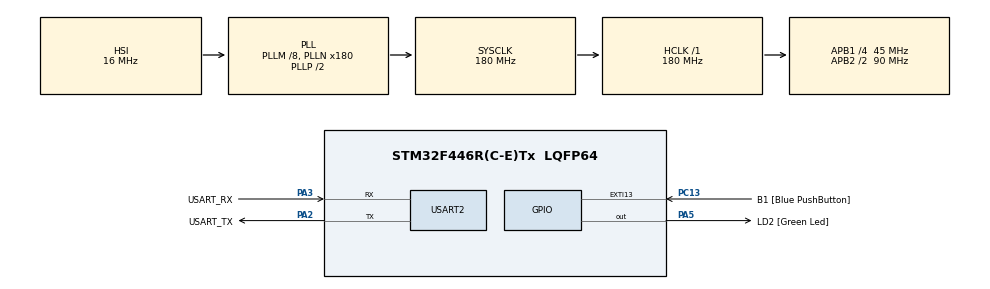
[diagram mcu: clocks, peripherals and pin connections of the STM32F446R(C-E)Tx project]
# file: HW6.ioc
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Mcu.Family=STM32F4
Mcu.Name=STM32F446R(C-E)Tx
Mcu.Package=LQFP64
NVIC.PriorityGroup=NVIC_PRIORITYGROUP_0
PA13.GPIO_Label=TMS
PA13.Mode=Serial_Wire
PA13.Signal=SYS_JTMS-SWDIO
PA14.GPIO_Label=TCK
PA14.Mode=Serial_Wire
PA14.Signal=SYS_JTCK-SWCLK
PA2.GPIO_Label=USART_TX
PA2.Mode=Asynchronous
PA2.Signal=USART2_TX
PA3.GPIO_Label=USART_RX
PA3.Mode=Asynchronous
PA3.Signal=USART2_RX
PA5.GPIO_Label=LD2 [Green Led]
PA5.Signal=GPIO_Output
PB3.GPIO_Label=SWO
PB3.Signal=SYS_JTDO-SWO
PC13.GPIO_Label=B1 [Blue PushButton]
PC13.GPIO_ModeDefaultEXTI=GPIO_MODE_IT_FALLING
PC13.Signal=GPXTI13
PC14-OSC32_IN.Mode=LSE-External-Oscillator
PC14-OSC32_IN.Signal=RCC_OSC32_IN
PC15-OSC32_OUT.Mode=LSE-External-Oscillator
PC15-OSC32_OUT.Signal=RCC_OSC32_OUT
PH0-OSC_IN.Mode=HSE-External-Oscillator
PH0-OSC_IN.Signal=RCC_OSC_IN
PH1-OSC_OUT.Mode=HSE-External-Oscillator
PH1-OSC_OUT.Signal=RCC_OSC_OUT
ProjectManager.HeapSize=0x200
ProjectManager.StackSize=0x400
ProjectManager.TargetToolchain=STM32CubeIDE
RCC.48MHZClocksFreq_Value=84000000
RCC.AHBFreq_Value=180000000
RCC.APB1CLKDivider=RCC_HCLK_DIV4
RCC.APB1Freq_Value=45000000
RCC.APB1TimFreq_Value=90000000
RCC.APB2CLKDivider=RCC_HCLK_DIV2
RCC.APB2Freq_Value=90000000
RCC.APB2TimFreq_Value=180000000
RCC.CortexFreq_Value=180000000
RCC.FLatency-AdvancedSettings=FLASH_LATENCY_5
RCC.HCLKFreq_Value=180000000
RCC.HSE_VALUE=8000000
RCC.HSI_VALUE=16000000
RCC.PLLM=8
RCC.PLLN=180
RCC.SYSCLKFreq_VALUE=180000000
RCC.SYSCLKSource=RCC_SYSCLKSOURCE_PLLCLK
RCC.USBFreq_Value=180000000
RCC.VCOOutputFreq_Value=360000000
USART2.VirtualMode=VM_ASYNC
board=NUCLEO-F446RE

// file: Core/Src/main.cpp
/* USER CODE BEGIN Header */
/**
  ******************************************************************************
  * @file           : main.cpp
  * @brief          : EE4065 Homework 6 - CNN Handwritten Digit Recognition
  *                   TensorFlow Lite Micro on STM32 Nucleo-F446RE
  *
  * Models tested (select ONE at a time by including the appropriate header):
  *   - SqueezeNetMini:    54.2 KB  (RECOMMENDED - Smallest)
  *   - ResNet8:           96.3 KB
  *   - MobileNetV2Mini:  106.5 KB
  *   - EfficientNetMini: 108.5 KB
  *   - ResNet14:         201.7 KB  (May need smaller arena)
  *
  * Protocol (PC -> STM32 -> PC):
  *   1. PC sends 0xAA (sync byte)
  *   2. STM32 replies 0x55 (ACK)
  *   3. PC sends 1024 bytes (32x32 grayscale image)
  *   4. STM32 runs inference
  *   5. STM32 sends 10 bytes (uint8 predictions) + 4 bytes (inference time ms)
  *
  ******************************************************************************
  */
/* USER CODE END Header */

#include "main.h"
#include <stdio.h>
#include <string.h>
#include <math.h>

/* USER CODE BEGIN Includes */
// TensorFlow Lite Micro headers
#include "tensorflow/lite/micro/micro_interpreter.h"
#include "tensorflow/lite/micro/micro_mutable_op_resolver.h"
#include "tensorflow/lite/schema/schema_generated.h"
#include "tensorflow/lite/micro/micro_log.h"

// ============================================================================
// SELECT YOUR MODEL HERE - Change the number (1-5)
// ============================================================================
#define MODEL_SELECT 3  // 1=SqueezeNetMini, 2=ResNet8, 3=MobileNetV2Mini, 4=EfficientNetMini, 5=ResNet14

// Auto-configure based on MODEL_SELECT
#if MODEL_SELECT == 1
    #include "SqueezeNetMini.h"
    #define MODEL_NAME "SqueezeNetMini"
    #define MODEL_DATA SqueezeNetMini_tflite
    #define TENSOR_ARENA_SIZE (50 * 1024)
#elif MODEL_SELECT == 2
    #include "ResNet8.h"
    #define MODEL_NAME "ResNet8"
    #define MODEL_DATA ResNet8_tflite
    #define TENSOR_ARENA_SIZE (60 * 1024)
#elif MODEL_SELECT == 3
    #include "MobileNetV2Mini.h"
    #define MODEL_NAME "MobileNetV2Mini"
    #define MODEL_DATA MobileNetV2Mini_tflite
    #define TENSOR_ARENA_SIZE (65 * 1024)
#elif MODEL_SELECT == 4
    #include "EfficientNetMini.h"
    #define MODEL_NAME "EfficientNetMini"
    #define MODEL_DATA EfficientNetMini_tflite
    #define TENSOR_ARENA_SIZE (80 * 1024)  // Increased from 70KB to 80KB
#elif MODEL_SELECT == 5
    #include "ResNet14.h"
    #define MODEL_NAME "ResNet14"
    #define MODEL_DATA ResNet14_tflite
    #define TENSOR_ARENA_SIZE (80 * 1024)
#else
    #error "Invalid MODEL_SELECT! Use 1-5"
#endif
/* USER CODE END Includes */

/* USER CODE BEGIN PD */
// Image parameters
#define IMAGE_SIZE      32
#define IMAGE_CHANNELS  3       // Model expects RGB
#define IMAGE_BYTES     (IMAGE_SIZE * IMAGE_SIZE)  // Grayscale input from PC
#define INPUT_SIZE      (IMAGE_SIZE * IMAGE_SIZE * IMAGE_CHANNELS)

// Output
#define NUM_CLASSES     10

// Protocol bytes
#define SYNC_BYTE       0xAA
#define ACK_BYTE        0x55

/* USER CODE END PD */

UART_HandleTypeDef huart2;

/* USER CODE BEGIN PV */
// Tensor arena - must fit in RAM (F446RE has 128KB)
alignas(16) static uint8_t tensor_arena[TENSOR_ARENA_SIZE];

// Image receive buffer
static uint8_t image_buffer[IMAGE_BYTES];

// TFLite objects
static tflite::MicroInterpreter* interpreter = nullptr;
static TfLiteTensor* input_tensor = nullptr;
static TfLiteTensor* output_tensor = nullptr;
static bool model_ready = false;

/* USER CODE END PV */

void SystemClock_Config(void);
static void MX_GPIO_Init(void);
static void MX_USART2_UART_Init(void);

/* USER CODE BEGIN PFP */
static bool InitModel(void);
static void RunInference(void);
static void PrintMenu(void);
static void PrintInfo(void);
/* USER CODE END PFP */

/* USER CODE BEGIN 0 */

// Printf redirect to UART
#ifdef __GNUC__
extern "C" int __io_putchar(int ch)
{
    HAL_UART_Transmit(&huart2, (uint8_t*)&ch, 1, HAL_MAX_DELAY);
    return ch;
}
#endif

/**
  * @brief Initialize TFLite Micro model
  */
static bool InitModel(void)
{
    printf("Initializing TFLite model...\r\n");
    printf("  Model: %s\r\n", MODEL_NAME);
    printf("  Arena size: %d bytes\r\n", TENSOR_ARENA_SIZE);

    // Get model from Flash
    // Change this line when using different model!
    const tflite::Model* model = tflite::GetModel(MODEL_DATA);
    // const tflite::Model* model = tflite::GetModel(SqueezeNetMini_tflite);
    // const tflite::Model* model = tflite::GetModel(ResNet8_tflite);
    // const tflite::Model* model = tflite::GetModel(MobileNetV2Mini_tflite);
    // const tflite::Model* model = tflite::GetModel(EfficientNetMini_tflite);
    // const tflite::Model* model = tflite::GetModel(ResNet14_tflite);

    if (model->version() != TFLITE_SCHEMA_VERSION) {
        printf("ERROR: Model schema version mismatch!\r\n");
        return false;
    }

    // Create op resolver with required operations
    static tflite::MicroMutableOpResolver<25> resolver;  // Increased from 20 to 25

    // Common ops for all models
    resolver.AddConv2D();
    resolver.AddDepthwiseConv2D();
    resolver.AddFullyConnected();
    resolver.AddReshape();
    resolver.AddSoftmax();
    resolver.AddMaxPool2D();
    resolver.AddAveragePool2D();
    resolver.AddMean();
    resolver.AddPad();

    // Activation ops
    resolver.AddRelu();
    resolver.AddRelu6();

    // Arithmetic ops
    resolver.AddAdd();
    resolver.AddMul();

    // Quantization ops
    resolver.AddQuantize();
    resolver.AddDequantize();

    // Concatenation (for SqueezeNet fire modules)
    resolver.AddConcatenation();

    // === ADD THESE FOR ResNet and EfficientNet ===
    resolver.AddLogistic();        // Sigmoid - needed for EfficientNet Swish activation
    resolver.AddSub();             // Subtraction
    resolver.AddDiv();             // Division
    resolver.AddResizeBilinear();  // For some models
    resolver.AddResizeNearestNeighbor();

    // Create interpreter
    static tflite::MicroInterpreter static_interpreter(
        model, resolver, tensor_arena, TENSOR_ARENA_SIZE);
    interpreter = &static_interpreter;

    // Allocate tensors
    if (interpreter->AllocateTensors() != kTfLiteOk) {
        printf("ERROR: AllocateTensors failed!\r\n");
        printf("  Try reducing TENSOR_ARENA_SIZE or use smaller model.\r\n");
        return false;
    }

    // Get input/output tensors
    input_tensor = interpreter->input(0);
    output_tensor = interpreter->output(0);

    // Print tensor info
    printf("  Input:  [%d, %d, %d, %d] type=%d\r\n",
           input_tensor->dims->data[0], input_tensor->dims->data[1],
           input_tensor->dims->data[2], input_tensor->dims->data[3],
           input_tensor->type);
    printf("  Output: [%d, %d] type=%d\r\n",
           output_tensor->dims->data[0], output_tensor->dims->data[1],
           output_tensor->type);

    printf("Model initialized successfully!\r\n\r\n");
    return true;
}

/**
  * @brief Run inference on received image
  */
static void RunInference(void)
{
    uint8_t ack = ACK_BYTE;

    // Send ACK
    HAL_UART_Transmit(&huart2, &ack, 1, HAL_MAX_DELAY);

    // Receive image (32x32 = 1024 bytes grayscale)
    HAL_StatusTypeDef status = HAL_UART_Receive(&huart2, image_buffer,
                                                 IMAGE_BYTES, 5000);
    if (status != HAL_OK) {
        printf("ERROR: Image receive timeout!\r\n");
        return;
    }

    // Preprocess: convert grayscale to RGB and copy to input tensor
    // Input tensor expects uint8 values
    uint8_t* input_data = input_tensor->data.uint8;

    for (int i = 0; i < IMAGE_BYTES; i++) {
        uint8_t pixel = image_buffer[i];
        // Replicate grayscale to RGB channels
        input_data[i * 3 + 0] = pixel;  // R
        input_data[i * 3 + 1] = pixel;  // G
        input_data[i * 3 + 2] = pixel;  // B
    }

    // Run inference
    uint32_t start_time = HAL_GetTick();

    if (interpreter->Invoke() != kTfLiteOk) {
        printf("ERROR: Inference failed!\r\n");
        return;
    }

    uint32_t inference_time = HAL_GetTick() - start_time;

    // Get output (10 uint8 values)
    uint8_t* output_data = output_tensor->data.uint8;

    // Send predictions (10 bytes)
    HAL_UART_Transmit(&huart2, output_data, NUM_CLASSES, HAL_MAX_DELAY);

    // Send inference time (4 bytes, uint32)
    HAL_UART_Transmit(&huart2, (uint8_t*)&inference_time, 4, HAL_MAX_DELAY);

    // Find argmax and print locally
    int predicted = 0;
    uint8_t max_val = output_data[0];
    for (int i = 1; i < NUM_CLASSES; i++) {
        if (output_data[i] > max_val) {
            max_val = output_data[i];
            predicted = i;
        }
    }

    printf("Inference: Digit=%d (conf=%d) Time=%lums\r\n",
           predicted, max_val, inference_time);
}

/**
  * @brief Print menu
  */
static void PrintMenu(void)
{
    printf("\r\n");
    printf("================================================\r\n");
    printf("  EE4065 HW6 - CNN Digit Recognition\r\n");
    printf("  STM32 Nucleo-F446RE + TFLite Micro\r\n");
    printf("================================================\r\n");
    printf("  Model: %s\r\n", MODEL_NAME);
    printf("  Status: %s\r\n", model_ready ? "READY" : "NOT READY");
    printf("------------------------------------------------\r\n");
    printf("  Commands:\r\n");
    printf("    0xAA - Start inference (send image)\r\n");
    printf("    i    - System info\r\n");
    printf("    ?    - This menu\r\n");
    printf("================================================\r\n");
}

/**
  * @brief Print system info
  */
static void PrintInfo(void)
{
    printf("\r\n>>> System Info:\r\n");
    printf("  MCU: STM32F446RE (Cortex-M4 @ 180MHz)\r\n");
    printf("  Flash: 512 KB\r\n");
    printf("  RAM: 128 KB\r\n");
    printf("  Clock: %lu MHz\r\n", HAL_RCC_GetSysClockFreq() / 1000000);
    printf("  Model: %s\r\n", MODEL_NAME);
    printf("  Arena: %d bytes\r\n", TENSOR_ARENA_SIZE);
    printf("  Input: %dx%dx%d (uint8)\r\n", IMAGE_SIZE, IMAGE_SIZE, IMAGE_CHANNELS);
    printf("  Output: %d classes (uint8)\r\n", NUM_CLASSES);
    printf("  Status: %s\r\n", model_ready ? "Ready" : "Error");
}

/* USER CODE END 0 */

int main(void)
{
    /* MCU Configuration */
    HAL_Init();
    SystemClock_Config();
    MX_GPIO_Init();
    MX_USART2_UART_Init();

    /* USER CODE BEGIN 2 */
    HAL_Delay(100);

    // Welcome message
    printf("\r\n\r\n");
    printf("************************************************\r\n");
    printf("*  EE4065 Embedded Machine Learning HW6       *\r\n");
    printf("*  CNN Handwritten Digit Recognition          *\r\n");
    printf("*  STM32 Nucleo-F446RE + TFLite Micro         *\r\n");
    printf("************************************************\r\n\r\n");

    // Initialize model
    model_ready = InitModel();

    if (model_ready) {
        PrintMenu();
        printf("\r\nReady. Waiting for images...\r\n");
    } else {
        printf("\r\nERROR: Model initialization failed!\r\n");
        printf("Check arena size and model compatibility.\r\n");
    }

    /* USER CODE END 2 */

    /* Infinite loop */
    /* USER CODE BEGIN WHILE */
    uint8_t rx_byte;

    while (1)
    {
        // Toggle LED to show we're alive
        static uint32_t last_blink = 0;
        if (HAL_GetTick() - last_blink > 1000) {
            HAL_GPIO_TogglePin(GPIOA, GPIO_PIN_5);
            last_blink = HAL_GetTick();
        }

        // Check for incoming commands
        if (HAL_UART_Receive(&huart2, &rx_byte, 1, 100) == HAL_OK)
        {
            switch (rx_byte)
            {
                case SYNC_BYTE:
                    // Inference request from PC
                    if (model_ready) {
                        RunInference();
                    } else {
                        printf("ERROR: Model not ready!\r\n");
                    }
                    break;

                case 'i':
                case 'I':
                    PrintInfo();
                    break;

                case '?':
                    PrintMenu();
                    break;

                case '\r':
                case '\n':
                    // Ignore newlines
                    break;

                default:
                    // Unknown command - ignore
                    break;
            }
        }
    }
    /* USER CODE END WHILE */
    /* USER CODE END 3 */
}

void SystemClock_Config(void)
{
    RCC_OscInitTypeDef RCC_OscInitStruct = {0};
    RCC_ClkInitTypeDef RCC_ClkInitStruct = {0};

    __HAL_RCC_PWR_CLK_ENABLE();
    __HAL_PWR_VOLTAGESCALING_CONFIG(PWR_REGULATOR_VOLTAGE_SCALE1);

    RCC_OscInitStruct.OscillatorType = RCC_OSCILLATORTYPE_HSI;
    RCC_OscInitStruct.HSIState = RCC_HSI_ON;
    RCC_OscInitStruct.HSICalibrationValue = RCC_HSICALIBRATION_DEFAULT;
    RCC_OscInitStruct.PLL.PLLState = RCC_PLL_ON;
    RCC_OscInitStruct.PLL.PLLSource = RCC_PLLSOURCE_HSI;
    RCC_OscInitStruct.PLL.PLLM = 8;
    RCC_OscInitStruct.PLL.PLLN = 180;
    RCC_OscInitStruct.PLL.PLLP = RCC_PLLP_DIV2;
    RCC_OscInitStruct.PLL.PLLQ = 2;
    RCC_OscInitStruct.PLL.PLLR = 2;
    if (HAL_RCC_OscConfig(&RCC_OscInitStruct) != HAL_OK) {
        Error_Handler();
    }

    if (HAL_PWREx_EnableOverDrive() != HAL_OK) {
        Error_Handler();
    }

    RCC_ClkInitStruct.ClockType = RCC_CLOCKTYPE_HCLK|RCC_CLOCKTYPE_SYSCLK
                                |RCC_CLOCKTYPE_PCLK1|RCC_CLOCKTYPE_PCLK2;
    RCC_ClkInitStruct.SYSCLKSource = RCC_SYSCLKSOURCE_PLLCLK;
    RCC_ClkInitStruct.AHBCLKDivider = RCC_SYSCLK_DIV1;
    RCC_ClkInitStruct.APB1CLKDivider = RCC_HCLK_DIV4;
    RCC_ClkInitStruct.APB2CLKDivider = RCC_HCLK_DIV2;

    if (HAL_RCC_ClockConfig(&RCC_ClkInitStruct, FLASH_LATENCY_5) != HAL_OK) {
        Error_Handler();
    }
}

/**
  * @brief USART2 Initialization - 115200 baud
  */
static void MX_USART2_UART_Init(void)
{
    huart2.Instance = USART2;
    huart2.Init.BaudRate = 115200;
    huart2.Init.WordLength = UART_WORDLENGTH_8B;
    huart2.Init.StopBits = UART_STOPBITS_1;
    huart2.Init.Parity = UART_PARITY_NONE;
    huart2.Init.Mode = UART_MODE_TX_RX;
    huart2.Init.HwFlowCtl = UART_HWCONTROL_NONE;
    huart2.Init.OverSampling = UART_OVERSAMPLING_16;
    if (HAL_UART_Init(&huart2) != HAL_OK) {
        Error_Handler();
    }
}

/**
  * @brief GPIO Initialization
  */
static void MX_GPIO_Init(void)
{
    GPIO_InitTypeDef GPIO_InitStruct = {0};

    __HAL_RCC_GPIOC_CLK_ENABLE();
    __HAL_RCC_GPIOH_CLK_ENABLE();
    __HAL_RCC_GPIOA_CLK_ENABLE();
    __HAL_RCC_GPIOB_CLK_ENABLE();

    // LED (PA5 on Nucleo-F446RE)
    HAL_GPIO_WritePin(GPIOA, GPIO_PIN_5, GPIO_PIN_RESET);
    GPIO_InitStruct.Pin = GPIO_PIN_5;
    GPIO_InitStruct.Mode = GPIO_MODE_OUTPUT_PP;
    GPIO_InitStruct.Pull = GPIO_NOPULL;
    GPIO_InitStruct.Speed = GPIO_SPEED_FREQ_LOW;
    HAL_GPIO_Init(GPIOA, &GPIO_InitStruct);

    // Button (PC13 on Nucleo-F446RE)
    GPIO_InitStruct.Pin = GPIO_PIN_13;
    GPIO_InitStruct.Mode = GPIO_MODE_IT_FALLING;
    GPIO_InitStruct.Pull = GPIO_NOPULL;
    HAL_GPIO_Init(GPIOC, &GPIO_InitStruct);
}

/**
  * @brief Error Handler
  */
void Error_Handler(void)
{
    __disable_irq();
    while (1) {
        HAL_GPIO_TogglePin(GPIOA, GPIO_PIN_5);
        for(volatile int i = 0; i < 100000; i++);
    }
}
